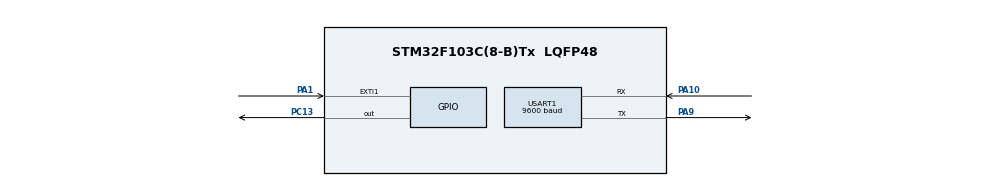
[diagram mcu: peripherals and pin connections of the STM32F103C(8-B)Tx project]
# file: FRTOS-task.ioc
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FREERTOS.Tasks01=defaultTask,24,128,StartDefaultTask,Default,NULL,Dynamic,NULL,NULL
FREERTOS.configTOTAL_HEAP_SIZE=8192
FREERTOS.configUSE_NEWLIB_REENTRANT=1
Mcu.Family=STM32F1
Mcu.Name=STM32F103C(8-B)Tx
Mcu.Package=LQFP48
NVIC.EXTI1_IRQn=true\:5\:0\:false\:false\:true\:true\:true\:true\:true
NVIC.PriorityGroup=NVIC_PRIORITYGROUP_4
NVIC.TIM4_IRQn=true\:15\:0\:false\:false\:true\:false\:false\:true\:true
NVIC.TimeBase=TIM4_IRQn
NVIC.TimeBaseIP=TIM4
PA1.GPIO_ModeDefaultEXTI=GPIO_MODE_IT_FALLING
PA1.GPIO_PuPd=GPIO_PULLUP
PA1.Signal=GPXTI1
PA10.Mode=Asynchronous
PA10.Signal=USART1_RX
PA9.Mode=Asynchronous
PA9.Signal=USART1_TX
PC13-TAMPER-RTC.Signal=GPIO_Output
ProjectManager.HeapSize=0x200
ProjectManager.StackSize=0x400
ProjectManager.TargetToolchain=STM32CubeIDE
RCC.APB1Freq_Value=8000000
RCC.APB2Freq_Value=8000000
USART1.BaudRate=9600
USART1.Mode=MODE_TX
USART1.VirtualMode=VM_ASYNC
VP_FREERTOS_VS_CMSIS_V2.Mode=CMSIS_V2
VP_SYS_VS_ND.Mode=No_Debug
VP_SYS_VS_tim4.Mode=TIM4
board=custom

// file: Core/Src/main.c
/* USER CODE BEGIN Header */
/**
  ******************************************************************************
  * @file           : main.c
  * @brief          : Main program body
  ******************************************************************************
  * @attention
  *
  * Copyright (c) 2026 STMicroelectronics.
  * All rights reserved.
  *
  * This software is licensed under terms that can be found in the LICENSE file
  * in the root directory of this software component.
  * If no LICENSE file comes with this software, it is provided AS-IS.
  *
  ******************************************************************************
  */
/* USER CODE END Header */
#include "main.h"
#include "cmsis_os.h"

/* USER CODE BEGIN Includes */
#include "FreeRTOS.h"
#include "queue.h"
#include "semphr.h"
#include "event_groups.h"
#include <stdio.h>
/* USER CODE END Includes */

/* USER CODE BEGIN PTD */
typedef enum {
	COUNTER,
	SHARED
}DataSource;
/* USER CODE END PTD */

UART_HandleTypeDef huart1;
SemaphoreHandle_t  xMutex;
/* Definitions for defaultTask */
osThreadId_t defaultTaskHandle;
const osThreadAttr_t defaultTask_attributes = {
  .name = "defaultTask",
  .stack_size = 128 * 4,
  .priority = (osPriority_t) osPriorityNormal,
};
/* USER CODE BEGIN PV */
QueueHandle_t UARTData;

struct UARTMessage{
	DataSource datasource;
	int value;
};
volatile int counter = 0;
int shared	= 0;
EventGroupHandle_t Switch1Event;

/* USER CODE END PV */

void SystemClock_Config(void);
static void MX_GPIO_Init(void);
static void MX_USART1_UART_Init(void);
void StartDefaultTask(void *argument);

/* USER CODE BEGIN PFP */
//20
void HAL_GPIO_EXTI_Callback(uint16_t GPIO_Pin) {

    if(GPIO_Pin == GPIO_PIN_1) {
       counter++;
       if(counter == 10) counter = 0;
       BaseType_t xHigherPriorityTaskWoken, xResult;
       xHigherPriorityTaskWoken = pdFALSE;

       //https://freertos.org/Documentation/02-Kernel/04-API-references/12-Event-groups-or-flags/06-xEventGroupSetBitsFromISR
       xResult = xEventGroupSetBitsFromISR(
                                   Switch1Event,   /* The event group being updated. */
                                   0x01, /* The bits being set. */
                                   &xHigherPriorityTaskWoken );

       // since we had all the tasks have same priority the xResult should be false always
       if( xResult != pdFAIL )
       {
    	   //!!! can't find this function in any documenation
           portYIELD_FROM_ISR( xHigherPriorityTaskWoken );
       }
    }
}
void CalcSwitch1_Task(){
	for(;;) {
		//https://freertos.org/Documentation/02-Kernel/04-API-references/12-Event-groups-or-flags/04-xEventGroupWaitBits
		EventBits_t uxBits = xEventGroupWaitBits(
					   Switch1Event,   /* The event group being tested. */
					   0x01, /* The bits within the event group to wait for. */
					   pdTRUE,        /* BIT_0 & BIT_4 should be cleared before returning. */
					   pdFALSE,       /* Don't wait for both bits, either bit will do. */
					   portMAX_DELAY);/* Wait a maximum of 100ms for either bit to be set. */

		if(uxBits){
			struct UARTMessage CounterMessage;
			CounterMessage.datasource = COUNTER;
			CounterMessage.value = counter * 10;
			//https://freertos.org/Documentation/02-Kernel/04-API-references/06-Queues/05-xQueueSendToBack
			xQueueSendToBack(UARTData, &CounterMessage, (TickType_t) 10);
		}
	}
}
void UART_Task(){
	TickType_t xLastWakeTime;
	const TickType_t xFrequency = 5;

	//https://www.freertos.org/Documentation/02-Kernel/04-API-references/03-Task-utilities/00-Task-utilities#xtaskgettickcount
	xLastWakeTime = xTaskGetTickCount();
	struct UARTMessage Message;
	char M[50];
	for( ;; )
	{
		// https://freertos.org/Documentation/02-Kernel/04-API-references/02-Task-control/02-vTaskDelayUntil
		vTaskDelayUntil( &xLastWakeTime, xFrequency );
		if( UARTData != NULL )
		    {
				//https://www.freertos.org/Documentation/02-Kernel/04-API-references/06-Queues/09-xQueueReceive
		        if( xQueueReceive( UARTData,
		                           &( Message ),
								   0) == pdPASS )
		        {
		        	if(Message.datasource == COUNTER){

		        		uint16_t len = snprintf(M, sizeof(M), "Counter: %d\r\n", Message.value);
		        		//38
		        		HAL_UART_Transmit(&huart1, (uint8_t*)M, len, 500);
		        	} else if(Message.datasource == SHARED){

						uint16_t len = snprintf(M, sizeof(M), "Shared: %d\r\n", Message.value);
						//38
						HAL_UART_Transmit(&huart1, (uint8_t*)M, len, 500);
		        	}
		        }
		    }

	}
}
void IncreaseVar_Task(){
	TickType_t xLastWakeTime;
	const TickType_t xFrequency = 10;
	struct UARTMessage CounterMessage;
	////https://www.freertos.org/Documentation/02-Kernel/04-API-references/03-Task-utilities/00-Task-utilities#xtaskgettickcount
	xLastWakeTime = xTaskGetTickCount();
	for(;;){
		// https://freertos.org/Documentation/02-Kernel/04-API-references/02-Task-control/02-vTaskDelayUntil
		vTaskDelayUntil( &xLastWakeTime, xFrequency );
		//https://freertos.org/Documentation/02-Kernel/04-API-references/10-Semaphore-and-Mutexes/12-xSemaphoreTake
		if(xSemaphoreTake( xMutex, portMAX_DELAY ) == pdTRUE){
			if(shared >= 200) shared = 100;
			else shared++;
			CounterMessage.datasource = SHARED;
			CounterMessage.value = shared;
			//https://freertos.org/Documentation/02-Kernel/04-API-references/06-Queues/05-xQueueSendToBack
			xQueueSendToBack(UARTData, &CounterMessage, (TickType_t) 10);
			//https://freertos.org/Documentation/02-Kernel/04-API-references/10-Semaphore-and-Mutexes/15-xSemaphoreGive
			xSemaphoreGive( xMutex );
		}
	}
}
void DecreaseVar_Task(){
	TickType_t xLastWakeTime;
	const TickType_t xFrequency = 12;
	struct UARTMessage CounterMessage;
	//https://www.freertos.org/Documentation/02-Kernel/04-API-references/03-Task-utilities/00-Task-utilities#xtaskgettickcount
	xLastWakeTime = xTaskGetTickCount();
	for(;;){
		// https://freertos.org/Documentation/02-Kernel/04-API-references/02-Task-control/02-vTaskDelayUntil
		vTaskDelayUntil( &xLastWakeTime, xFrequency );
		//https://www.freertos.org/Documentation/02-Kernel/04-API-references/10-Semaphore-and-Mutexes/12-xSemaphoreTake
		if(xSemaphoreTake( xMutex, portMAX_DELAY ) == pdTRUE){
			if(shared <= 100) shared = 200;
			else shared--;
			CounterMessage.datasource = SHARED;
			CounterMessage.value = shared;
			//https://www.freertos.org/Documentation/02-Kernel/04-API-references/10-Semaphore-and-Mutexes/15-xSemaphoreGive
			xSemaphoreGive( xMutex );
		}
		//https://freertos.org/Documentation/02-Kernel/04-API-references/06-Queues/05-xQueueSendToBack
		xQueueSendToBack(UARTData, &CounterMessage, (TickType_t) 10);
	}
}

/* USER CODE END PFP */

int main(void)
{

  /* MCU Configuration--------------------------------------------------------*/

  /* Reset of all peripherals, Initializes the Flash interface and the Systick. */
  HAL_Init(); //6

  /* Configure the system clock */
  SystemClock_Config();

  /* Initialize all configured peripherals */
  MX_GPIO_Init();
  MX_USART1_UART_Init();

  /* Init scheduler */
  osKernelInitialize();

  /* USER CODE BEGIN RTOS_MUTEX */
  /* add mutexes, ... */
  //https://freertos.org/Documentation/02-Kernel/04-API-references/10-Semaphore-and-Mutexes/06-xSemaphoreCreateMutex
  xMutex = xSemaphoreCreateMutex();

  /* USER CODE END RTOS_MUTEX */

  /* USER CODE BEGIN RTOS_QUEUES */
  /* add queues, ... */
  // https://freertos.org/Documentation/02-Kernel/04-API-references/06-Queues/01-xQueueCreate
  UARTData = xQueueCreate( 10, sizeof( struct UARTMessage) );
  /* USER CODE END RTOS_QUEUES */

  /* Create the thread(s) */
  /* creation of defaultTask */
  //defaultTaskHandle = osThreadNew(StartDefaultTask, NULL, &defaultTask_attributes);

  /* USER CODE BEGIN RTOS_THREADS */
  /* add threads, ... */
  //https://freertos.org/Documentation/02-Kernel/04-API-references/01-Task-creation/01-xTaskCreate
  xTaskCreate(CalcSwitch1_Task, "Calc", 128, NULL, 2, NULL);
  //https://freertos.org/Documentation/02-Kernel/04-API-references/01-Task-creation/01-xTaskCreate
  xTaskCreate(UART_Task,        "UART", 256, NULL, 2, NULL);
  //https://freertos.org/Documentation/02-Kernel/04-API-references/01-Task-creation/01-xTaskCreate
  xTaskCreate(IncreaseVar_Task,        "inc", 256, NULL, 2, NULL);
  //https://freertos.org/Documentation/02-Kernel/04-API-references/01-Task-creation/01-xTaskCreate
  xTaskCreate(DecreaseVar_Task,        "dec", 256, NULL, 2, NULL);

  /* USER CODE END RTOS_THREADS */

  /* USER CODE BEGIN RTOS_EVENTS */
  /* add events, ... */
  Switch1Event = xEventGroupCreate(); //https://freertos.org/Documentation/02-Kernel/04-API-references/12-Event-groups-or-flags/01-xEventGroupCreate
  /* USER CODE END RTOS_EVENTS */

  /* Start scheduler */

  osKernelStart();

  /* We should never get here as control is now taken by the scheduler */

  /* Infinite loop */
  while (1)
  {

  }
}

void SystemClock_Config(void)
{
  RCC_OscInitTypeDef RCC_OscInitStruct = {0};
  RCC_ClkInitTypeDef RCC_ClkInitStruct = {0};

  /** Initializes the RCC Oscillators according to the specified parameters
  * in the RCC_OscInitTypeDef structure.
  */
  RCC_OscInitStruct.OscillatorType = RCC_OSCILLATORTYPE_HSI;
  RCC_OscInitStruct.HSIState = RCC_HSI_ON;
  RCC_OscInitStruct.HSICalibrationValue = RCC_HSICALIBRATION_DEFAULT;
  RCC_OscInitStruct.PLL.PLLState = RCC_PLL_NONE;
  if (HAL_RCC_OscConfig(&RCC_OscInitStruct) != HAL_OK)
  {
    Error_Handler();
  }

  /** Initializes the CPU, AHB and APB buses clocks
  */
  RCC_ClkInitStruct.ClockType = RCC_CLOCKTYPE_HCLK|RCC_CLOCKTYPE_SYSCLK
                              |RCC_CLOCKTYPE_PCLK1|RCC_CLOCKTYPE_PCLK2;
  RCC_ClkInitStruct.SYSCLKSource = RCC_SYSCLKSOURCE_HSI;
  RCC_ClkInitStruct.AHBCLKDivider = RCC_SYSCLK_DIV1;
  RCC_ClkInitStruct.APB1CLKDivider = RCC_HCLK_DIV1;
  RCC_ClkInitStruct.APB2CLKDivider = RCC_HCLK_DIV1;

  if (HAL_RCC_ClockConfig(&RCC_ClkInitStruct, FLASH_LATENCY_0) != HAL_OK)
  {
    Error_Handler();
  }
}

static void MX_USART1_UART_Init(void)
{

  huart1.Instance = USART1;
  huart1.Init.BaudRate = 9600;
  huart1.Init.WordLength = UART_WORDLENGTH_8B;
  huart1.Init.StopBits = UART_STOPBITS_1;
  huart1.Init.Parity = UART_PARITY_NONE;
  huart1.Init.Mode = UART_MODE_TX;
  huart1.Init.HwFlowCtl = UART_HWCONTROL_NONE;
  huart1.Init.OverSampling = UART_OVERSAMPLING_16;
  if (HAL_UART_Init(&huart1) != HAL_OK)
  {
    Error_Handler();
  }

}

static void MX_GPIO_Init(void)
{
  GPIO_InitTypeDef GPIO_InitStruct = {0};

  /* GPIO Ports Clock Enable */
  __HAL_RCC_GPIOC_CLK_ENABLE();
  __HAL_RCC_GPIOA_CLK_ENABLE();

  /*Configure GPIO pin Output Level */
  HAL_GPIO_WritePin(GPIOC, GPIO_PIN_13, GPIO_PIN_RESET);

  /*Configure GPIO pin : PC13 */
  GPIO_InitStruct.Pin = GPIO_PIN_13;
  GPIO_InitStruct.Mode = GPIO_MODE_OUTPUT_PP;
  GPIO_InitStruct.Pull = GPIO_NOPULL;
  GPIO_InitStruct.Speed = GPIO_SPEED_FREQ_LOW;
  HAL_GPIO_Init(GPIOC, &GPIO_InitStruct);

  /*Configure GPIO pin : PA1 */
  GPIO_InitStruct.Pin = GPIO_PIN_1;
  GPIO_InitStruct.Mode = GPIO_MODE_IT_FALLING;
  GPIO_InitStruct.Pull = GPIO_PULLUP;
  HAL_GPIO_Init(GPIOA, &GPIO_InitStruct);

  /* EXTI interrupt init*/
  HAL_NVIC_SetPriority(EXTI1_IRQn, 5, 0);
  HAL_NVIC_EnableIRQ(EXTI1_IRQn);

}

void StartDefaultTask(void *argument)
{
  for(;;)
  {
    osDelay(1);
  }
}

void HAL_TIM_PeriodElapsedCallback(TIM_HandleTypeDef *htim)
{
  if (htim->Instance == TIM4)
  {
    HAL_IncTick();
  }
}

void Error_Handler(void)
{
  __disable_irq();
  while (1)
  {
  }
}
